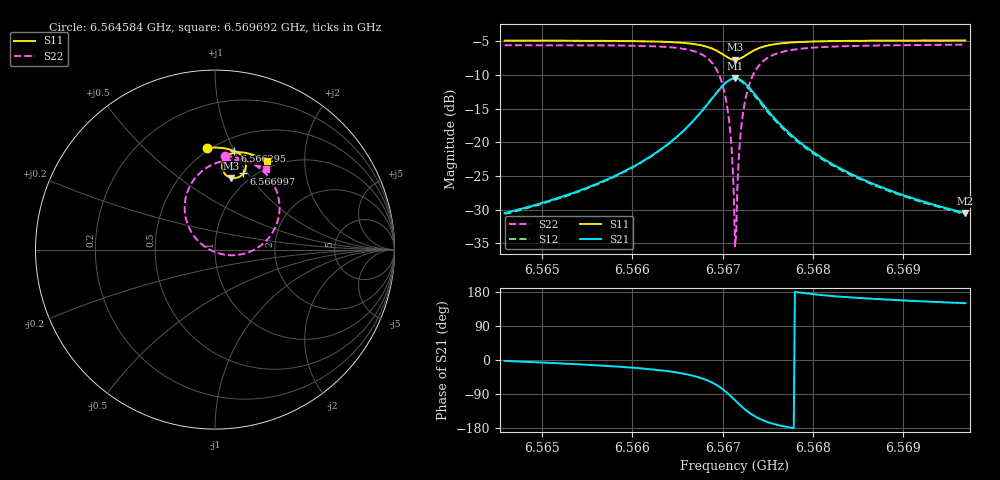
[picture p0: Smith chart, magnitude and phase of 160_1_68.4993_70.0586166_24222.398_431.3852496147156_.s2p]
#  HZ  S  RI  R  50.00
! Rohde & Schwarz Vector Network Analyzer
! Rohde-Schwarz,ZNB20-2Port,1311601062101988,3.16
! Created: UTC 3/20/2024, 5:10:53 PM
! freq[Hz]  re:S11  im:S11  re:S21  im:S21  re:S12  im:S12  re:S22  im:S22
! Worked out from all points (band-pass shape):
!   401 points, 6.564584 GHz to 6.569692 GHz, reference 50 ohm
!   highest |S21| = -10.50 dB at 6.567138 GHz (marker M1); lowest = -30.5 dB at 6.569692 GHz (marker M2)
!   |S21| within 3 dB of the highest: 6.566884 GHz to 6.567394 GHz (510.4 kHz wide, 0.00777 % of centre)
!   lowest |S11| = -7.7 dB at 6.567138 GHz (marker M3), VSWR 2.39, Z = 42.2 + j40.5 ohm
!   |S11| at or under -10 dB: nowhere
!   |S22| runs from -35.4 to -5.5 dB; largest |S21 - S12| = 0.014
!   S11 on the Smith chart (normalised r, x): 6.564584 GHz: 0.48, +0.80; 6.566295 GHz: 0.63, +1.00; 6.566997 GHz: 0.89, +0.95; 6.569692 GHz: 0.90, +1.31
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6.5645838e9  -0.0454 0.5672  0.0298 -0.00123  0.0292 -0.0018  0.0554 0.523
6.5654394e9  0.0256 0.5672  0.0435 -0.00897  0.0429 -0.0097  0.139 0.5072
6.566295e9  0.1082 0.5487  0.0775 -0.039  0.0763 -0.0399  0.2594 0.4444
6.5665887e9  0.1435 0.5267  0.1005 -0.0759  0.0989 -0.0774  0.3216 0.3717
6.566793e9  0.1675 0.492  0.1137 -0.1364  0.111 -0.1392  0.3588 0.255
6.566908e9  0.1715 0.4577  0.1022 -0.1965  0.0973 -0.2005  0.3428 0.14
6.5669973e9  0.158 0.4241  0.0618 -0.2538  0.0528 -0.2571  0.2684 0.0333
6.5670357e9  0.1447 0.4112  0.031 -0.2753  0.0201 -0.2771  0.211 -0.00466
6.567074e9  0.127 0.4017  -0.00822 -0.2893  -0.0206 -0.2887  0.1392 -0.0276
6.5670995e9  0.113 0.3985  -0.0375 -0.2927  -0.0507 -0.29  0.086 -0.0314
6.5671251e9  0.0985 0.3985  -0.0678 -0.2904  -0.0808 -0.2852  0.0318 -0.0239
6.5671378e9  0.0912 0.3997  -0.0828 -0.2868  -0.0956 -0.2805  0.00548 -0.016
6.5671506e9  0.0841 0.4017  -0.0974 -0.282  -0.1097 -0.2746  -0.0198 -0.00531
6.5671634e9  0.0773 0.4046  -0.1114 -0.2756  -0.1231 -0.2672  -0.0435 0.00781
6.5671889e9  0.065 0.4121  -0.1368 -0.2592  -0.1466 -0.249  -0.0858 0.04
6.5672272e9  0.0508 0.4274  -0.1661 -0.2281  -0.1733 -0.2163  -0.1327 0.0988
6.5672783e9  0.0411 0.4506  -0.1886 -0.1822  -0.1917 -0.17  -0.1643 0.1823
6.5673421e9  0.0407 0.4777  -0.1947 -0.1294  -0.1942 -0.1188  -0.1658 0.2749
6.5675848e9  0.081 0.5304  -0.1463 -0.0262  -0.143 -0.0217  -0.058 0.4486
6.5679934e9  0.1418 0.5423  -0.0851 0.00942  -0.083 0.0105  0.0778 0.4983
6.568849e9  0.224 0.5231  -0.0412 0.0157  -0.0403 0.016  0.209 0.4822
6.5696919e9  0.2874 0.4931  -0.0258 0.0149  -0.0252 0.0149  0.2861 0.4482
